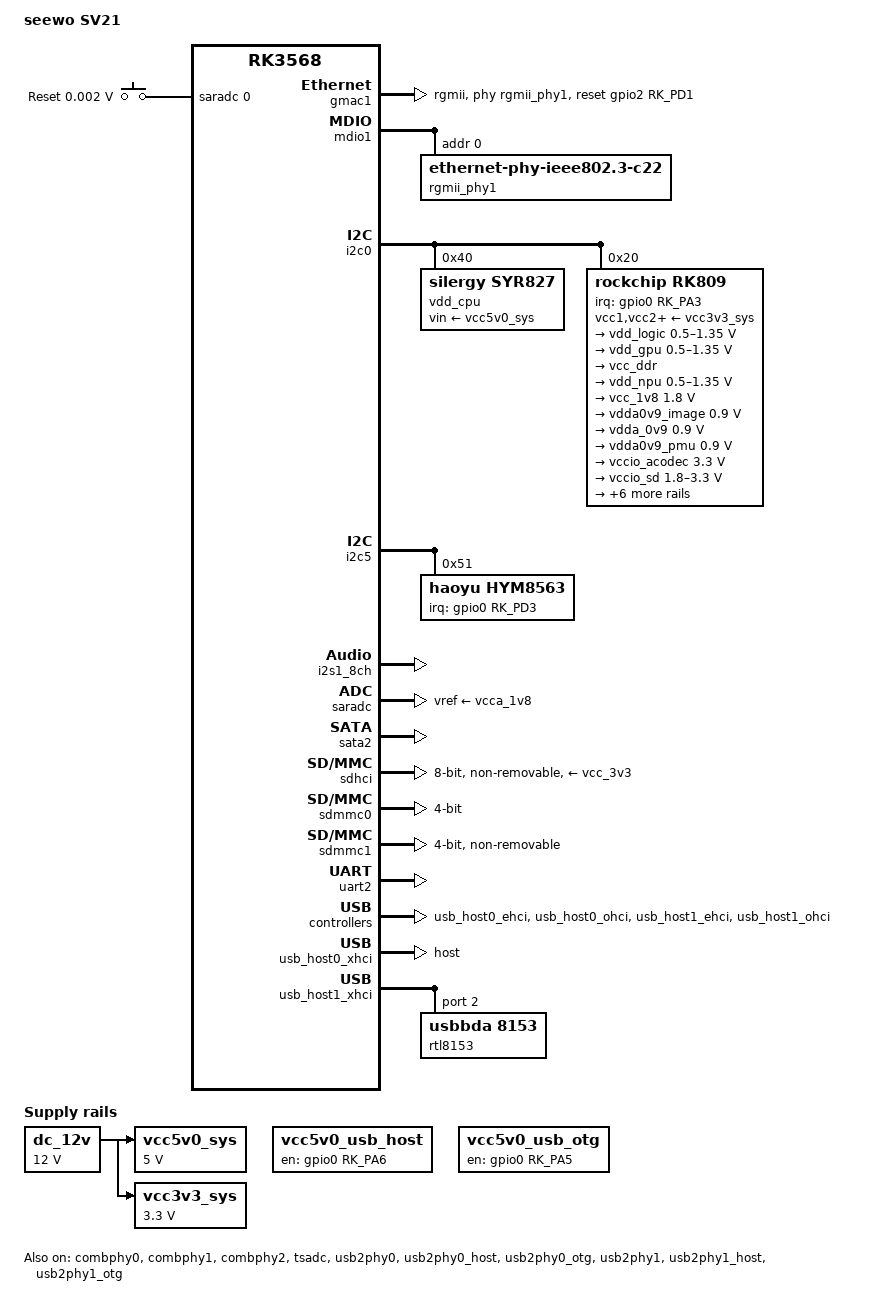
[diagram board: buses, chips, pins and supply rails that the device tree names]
// SPDX-License-Identifier: (GPL-2.0+ OR MIT)
/*
 * Copyright (c) 2023 tdleiyao <tdleiyao@gmail.com>
 */

/dts-v1/;

#include <dt-bindings/gpio/gpio.h>
#include <dt-bindings/input/input.h>
#include <dt-bindings/pinctrl/rockchip.h>
#include "rk3568.dtsi"

/ {
	model = "seewo SV21";
	compatible = "seewo,sv21", "rockchip,rk3568";

	aliases {
		ethernet0 = &gmac1;
		ethernet1 = &rtl8153;
		mmc0 = &sdmmc0;
		mmc1 = &sdhci;
		mmc2 = &sdmmc1;
	};

	chosen: chosen {
		stdout-path = "serial2:1500000n8";
	};

	adc-keys {
		compatible = "adc-keys";
		io-channels = <&saradc 0>;
		io-channel-names = "buttons";
		keyup-threshold-microvolt = <1800000>;
		poll-interval = <100>;

		button-recovery {
			label = "Reset";
			linux,code = <KEY_RESTART>;
			press-threshold-microvolt = <1800>;
		};
	};

	dc_12v: dc-12v-regulator {
		compatible = "regulator-fixed";
		regulator-name = "dc_12v";
		regulator-always-on;
		regulator-boot-on;
		regulator-min-microvolt = <12000000>;
		regulator-max-microvolt = <12000000>;
	};

	vcc5v0_sys: vcc5v0-sys-regulator {
		compatible = "regulator-fixed";
		regulator-name = "vcc5v0_sys";
		regulator-always-on;
		regulator-boot-on;
		regulator-min-microvolt = <5000000>;
		regulator-max-microvolt = <5000000>;
		vin-supply = <&dc_12v>;
	};

	vcc3v3_sys: vcc3v3-sys-regulator {
		compatible = "regulator-fixed";
		regulator-name = "vcc3v3_sys";
		regulator-always-on;
		regulator-boot-on;
		regulator-min-microvolt = <3300000>;
		regulator-max-microvolt = <3300000>;
		vin-supply = <&dc_12v>;
	};

	vcc5v0_usb_host: vcc5v0-usb-host-regulator {
		compatible = "regulator-fixed";
		regulator-name = "vcc5v0_usb_host";
		enable-active-high;
		gpio = <&gpio0 RK_PA6 GPIO_ACTIVE_HIGH>;
		pinctrl-names = "default";
		pinctrl-0 = <&vcc5v0_usb_host_en_pin>;
		regulator-always-on;
	};

	vcc5v0_usb_otg: vcc5v0-usb-otg-regulator {
		compatible = "regulator-fixed";
		regulator-name = "vcc5v0_usb_otg";
		enable-active-high;
		gpio = <&gpio0 RK_PA5 GPIO_ACTIVE_HIGH>;
		pinctrl-names = "default";
		pinctrl-0 = <&vcc5v0_usb_otg_en_pin>;
	};
};

&combphy0 {
	status = "okay";
};

&combphy1 {
	status = "okay";
};

&combphy2 {
	status = "okay";
};

&cpu0 {
	cpu-supply = <&vdd_cpu>;
};

&cpu1 {
	cpu-supply = <&vdd_cpu>;
};

&cpu2 {
	cpu-supply = <&vdd_cpu>;
};

&cpu3 {
	cpu-supply = <&vdd_cpu>;
};

&gmac1 {
	assigned-clocks = <&cru SCLK_GMAC1_RX_TX>, <&cru SCLK_GMAC1>;
	assigned-clock-parents = <&cru SCLK_GMAC1_RGMII_SPEED>;
	assigned-clock-rates = <0>, <125000000>;
	clock_in_out = "output";
	phy-mode = "rgmii";
	pinctrl-names = "default";
	pinctrl-0 = <&gmac1m1_miim
		     &gmac1m1_tx_bus2
		     &gmac1m1_rx_bus2
		     &gmac1m1_rgmii_clk
		     &gmac1m1_rgmii_bus>;
	snps,reset-gpio = <&gpio2 RK_PD1 GPIO_ACTIVE_HIGH>;
	snps,reset-active-high;
	snps,reset-delays-us = <0 1000000 2000000>;
	tx_delay = <0x2a>;
	rx_delay = <0x2a>;
	phy-handle = <&rgmii_phy1>;
	status = "okay";
};

&mdio1 {
	rgmii_phy1: ethernet-phy@0 {
		compatible = "ethernet-phy-ieee802.3-c22";
		reg = <0>;
	};
};

&i2c0 {
	status = "okay";

	vdd_cpu: regulator@40 {
		compatible = "silergy,syr827";
		reg = <0x40>;
		fcs,suspend-voltage-selector = <1>;
		regulator-name = "vdd_cpu";
		regulator-min-microvolt = <712500>;
		regulator-max-microvolt = <1500000>;
		regulator-ramp-delay = <1000>;
		regulator-always-on;
		regulator-boot-on;
		vin-supply = <&vcc5v0_sys>;

		regulator-state-mem {
			regulator-off-in-suspend;
		};
	};

	rk809: pmic@20 {
		compatible = "rockchip,rk809";
		reg = <0x20>;
		interrupt-parent = <&gpio0>;
		interrupts = <RK_PA3 IRQ_TYPE_LEVEL_LOW>;
		assigned-clocks = <&cru I2S1_MCLKOUT_TX>;
		assigned-clock-parents = <&cru CLK_I2S1_8CH_TX>;
		#clock-cells = <1>;
		clock-names = "mclk";
		clocks = <&cru I2S1_MCLKOUT_TX>;
		clock-output-names = "rk808-clkout1", "rk808-clkout2";
		pinctrl-names = "default";
		pinctrl-0 = <&pmic_int_l>, <&i2s1m0_mclk>;
		rockchip,system-power-controller;
		#sound-dai-cells = <0>;
		wakeup-source;

		vcc1-supply = <&vcc3v3_sys>;
		vcc2-supply = <&vcc3v3_sys>;
		vcc3-supply = <&vcc3v3_sys>;
		vcc4-supply = <&vcc3v3_sys>;
		vcc5-supply = <&vcc3v3_sys>;
		vcc6-supply = <&vcc3v3_sys>;
		vcc7-supply = <&vcc3v3_sys>;
		vcc8-supply = <&vcc3v3_sys>;
		vcc9-supply = <&vcc3v3_sys>;

		regulators {
			vdd_logic: DCDC_REG1 {
				regulator-name = "vdd_logic";
				regulator-always-on;
				regulator-boot-on;
				regulator-min-microvolt = <500000>;
				regulator-max-microvolt = <1350000>;
				regulator-init-microvolt = <900000>;
				regulator-ramp-delay = <6001>;
				regulator-initial-mode = <0x2>;
				regulator-state-mem {
					regulator-off-in-suspend;
				};
			};

			vdd_gpu: DCDC_REG2 {
				regulator-name = "vdd_gpu";
				regulator-always-on;
				regulator-boot-on;
				regulator-min-microvolt = <500000>;
				regulator-max-microvolt = <1350000>;
				regulator-init-microvolt = <900000>;
				regulator-ramp-delay = <6001>;
				regulator-initial-mode = <0x2>;
					regulator-state-mem {
					regulator-on-in-suspend;
				};
			};

			vcc_ddr: DCDC_REG3 {
				regulator-always-on;
				regulator-boot-on;
				regulator-initial-mode = <0x2>;
				regulator-name = "vcc_ddr";
				regulator-state-mem {
					regulator-on-in-suspend;
				};
			};

			vdd_npu: DCDC_REG4 {
				regulator-always-on;
				regulator-boot-on;
				regulator-min-microvolt = <500000>;
				regulator-max-microvolt = <1350000>;
				regulator-init-microvolt = <900000>;
				regulator-initial-mode = <0x2>;
				regulator-name = "vdd_npu";
				regulator-state-mem {
					regulator-off-in-suspend;
				};
			};

			vcc_1v8: DCDC_REG5 {
				regulator-name = "vcc_1v8";
				regulator-always-on;
				regulator-boot-on;
				regulator-min-microvolt = <1800000>;
				regulator-max-microvolt = <1800000>;
				regulator-state-mem {
					regulator-off-in-suspend;
				};
			};

			vdda0v9_image: LDO_REG1 {
				regulator-always-on;
				regulator-boot-on;
				regulator-min-microvolt = <900000>;
				regulator-max-microvolt = <900000>;
				regulator-name = "vdda0v9_image";
				regulator-state-mem {
					regulator-off-in-suspend;
				};
			};

			vdda_0v9: LDO_REG2 {
				regulator-always-on;
				regulator-boot-on;
				regulator-min-microvolt = <900000>;
				regulator-max-microvolt = <900000>;
				regulator-name = "vdda_0v9";
				regulator-state-mem {
					regulator-off-in-suspend;
				};
			};

			vdda0v9_pmu: LDO_REG3 {
				regulator-always-on;
				regulator-boot-on;
				regulator-min-microvolt = <900000>;
				regulator-max-microvolt = <900000>;
				regulator-name = "vdda0v9_pmu";
				regulator-state-mem {
					regulator-on-in-suspend;
					regulator-suspend-microvolt = <900000>;
				};
			};

			vccio_acodec: LDO_REG4 {
				regulator-always-on;
				regulator-boot-on;
				regulator-min-microvolt = <3300000>;
				regulator-max-microvolt = <3300000>;
				regulator-name = "vccio_acodec";
				regulator-state-mem {
					regulator-off-in-suspend;
				};
			};

			vccio_sd: LDO_REG5 {
				regulator-always-on;
				regulator-boot-on;
				regulator-min-microvolt = <1800000>;
				regulator-max-microvolt = <3300000>;
				regulator-name = "vccio_sd";
				regulator-state-mem {
					regulator-off-in-suspend;
				};
			};

			vcc3v3_pmu: LDO_REG6 {
				regulator-always-on;
				regulator-boot-on;
				regulator-min-microvolt = <3300000>;
				regulator-max-microvolt = <3300000>;
				regulator-name = "vcc3v3_pmu";
				regulator-state-mem {
					regulator-on-in-suspend;
					regulator-suspend-microvolt = <3300000>;
				};
			};

			vcca_1v8: LDO_REG7 {
				regulator-always-on;
				regulator-boot-on;
				regulator-min-microvolt = <1800000>;
				regulator-max-microvolt = <1800000>;
				regulator-name = "vcca_1v8";
				regulator-state-mem {
					regulator-off-in-suspend;
				};
			};

			vcca1v8_pmu: LDO_REG8 {
				regulator-always-on;
				regulator-boot-on;
				regulator-min-microvolt = <1800000>;
				regulator-max-microvolt = <1800000>;
				regulator-name = "vcca1v8_pmu";
				regulator-state-mem {
					regulator-on-in-suspend;
					regulator-suspend-microvolt = <1800000>;
				};
			};

			vcca1v8_image: LDO_REG9 {
				regulator-always-on;
				regulator-boot-on;
				regulator-min-microvolt = <1800000>;
				regulator-max-microvolt = <1800000>;
				regulator-name = "vcca1v8_image";
				regulator-state-mem {
					regulator-off-in-suspend;
				};
			};

			vcc_3v3: SWITCH_REG1 {
				regulator-name = "vcc_3v3";
				regulator-state-mem {
					regulator-off-in-suspend;
				};
			};

			vcc3v3_sd: SWITCH_REG2 {
				regulator-name = "vcc3v3_sd";
				regulator-state-mem {
					regulator-off-in-suspend;
				};
			};
		};
	};
};

&i2c5 {
	status = "okay";

	hym8563: rtc@51 {
		compatible = "haoyu,hym8563";
		reg = <0x51>;
		interrupt-parent = <&gpio0>;
		interrupts = <RK_PD3 IRQ_TYPE_LEVEL_LOW>;
		#clock-cells = <0>;
		clock-output-names = "rtcic_32kout";
		pinctrl-names = "default";
		pinctrl-0 = <&hym8563_int>;
		wakeup-source;
	};
};

&i2s1_8ch {
	pinctrl-names = "default";
	pinctrl-0 = <&i2s1m1_sclktx &i2s1m1_sclkrx
		     &i2s1m1_lrcktx &i2s1m1_lrckrx
		     &i2s1m1_sdi0   &i2s1m1_sdi1
		     &i2s1m1_sdi2   &i2s1m1_sdi3
		     &i2s1m1_sdo0   &i2s1m1_sdo1
		     &i2s1m1_sdo2   &i2s1m1_sdo3>;
	rockchip,trcm-sync-tx-only;
	status = "okay";
};

&pinctrl {
	ethernet {
		eth_phy_rst: eth-phy-rst {
			rockchip,pins = <3 RK_PB0 RK_FUNC_GPIO &pcfg_pull_none>;
		};
	};

	hym8563 {
		hym8563_int: hym8563-int {
			rockchip,pins = <0 RK_PD3 RK_FUNC_GPIO &pcfg_pull_up>;
		};
	};

	usb {
		vcc5v0_usb_host_en_pin: vcc5v0-usb-host-en-pin {
			rockchip,pins = <0 RK_PA6 RK_FUNC_GPIO &pcfg_pull_none>;
		};

		vcc5v0_usb_otg_en_pin: vcc5v0-usb-otg-en-pin {
			rockchip,pins = <0 RK_PA5 RK_FUNC_GPIO &pcfg_pull_none>;
		};
	};

	pmic {
		pmic_int_l: pmic-int-l {
			rockchip,pins = <0 RK_PA3 RK_FUNC_GPIO &pcfg_pull_up>;
		};
	};
};

&pmu_io_domains {
	pmuio1-supply = <&vcc3v3_pmu>;
	pmuio2-supply = <&vcc3v3_pmu>;
	vccio1-supply = <&vccio_acodec>;
	vccio2-supply = <&vcc_1v8>;
	vccio3-supply = <&vccio_sd>;
	vccio4-supply = <&vcc_3v3>;
	vccio5-supply = <&vcc_3v3>;
	vccio6-supply = <&vcc_3v3>;
	vccio7-supply = <&vcc_3v3>;
	status = "okay";
};

&saradc {
	vref-supply = <&vcca_1v8>;
	status = "okay";
};

&sata2 {
	status = "okay";
};

&sdhci {
	bus-width = <8>;
	max-frequency = <200000000>;
	non-removable;
	pinctrl-names = "default";
	pinctrl-0 = <&emmc_bus8 &emmc_clk &emmc_cmd &emmc_datastrobe &emmc_rstnout>;
	vmmc-supply = <&vcc_3v3>;
	vqmmc-supply = <&vcc_1v8>;
	status = "okay";
};

&sdmmc0 {
	broken-cd;
	bus-width = <4>;
	cap-sd-highspeed;
	disable-wp;
	pinctrl-names = "default";
	pinctrl-0 = <&sdmmc0_bus4 &sdmmc0_clk &sdmmc0_cmd &sdmmc0_det>;
	vqmmc-supply = <&vccio_sd>;
	status = "okay";
};

&sdmmc1 {
	supports-sdio;
	bus-width = <4>;
	disable-wp;
	cap-sd-highspeed;
	cap-sdio-irq;
	keep-power-in-suspend;
	pinctrl-names = "default";
	pinctrl-0 = <&sdmmc1_bus4 &sdmmc1_cmd &sdmmc1_clk>;
	non-removable;
	status = "okay";
};

&tsadc {
	status = "okay";
};

&uart2 {
	status = "okay";
};

&usb_host0_ehci {
	status = "okay";
};

&usb_host0_ohci {
	status = "okay";
};

&usb_host0_xhci {
	extcon = <&usb2phy0>;
	dr_mode = "host";
	status = "okay";
};

&usb_host1_ehci {
	status = "okay";
};

&usb_host1_ohci {
	status = "okay";
};

&usb_host1_xhci {
	#address-cells = <1>;
	#size-cells = <0>;
	status = "okay";

	rtl8153: device@2 {
		compatible = "usbbda,8153";
		reg = <2>;
		realtek,led-data = <0x87>;
	};
};

&usb2phy0 {
	status = "okay";
};

&usb2phy0_host {
	phy-supply = <&vcc5v0_usb_host>;
	status = "okay";
};

&usb2phy0_otg {
	phy-supply = <&vcc5v0_usb_otg>;
	status = "okay";
};

&usb2phy1 {
	status = "okay";
};

&usb2phy1_host {
	phy-supply = <&vcc5v0_usb_host>;
	status = "okay";
};

&usb2phy1_otg {
	phy-supply = <&vcc5v0_usb_otg>;
	status = "okay";
};
